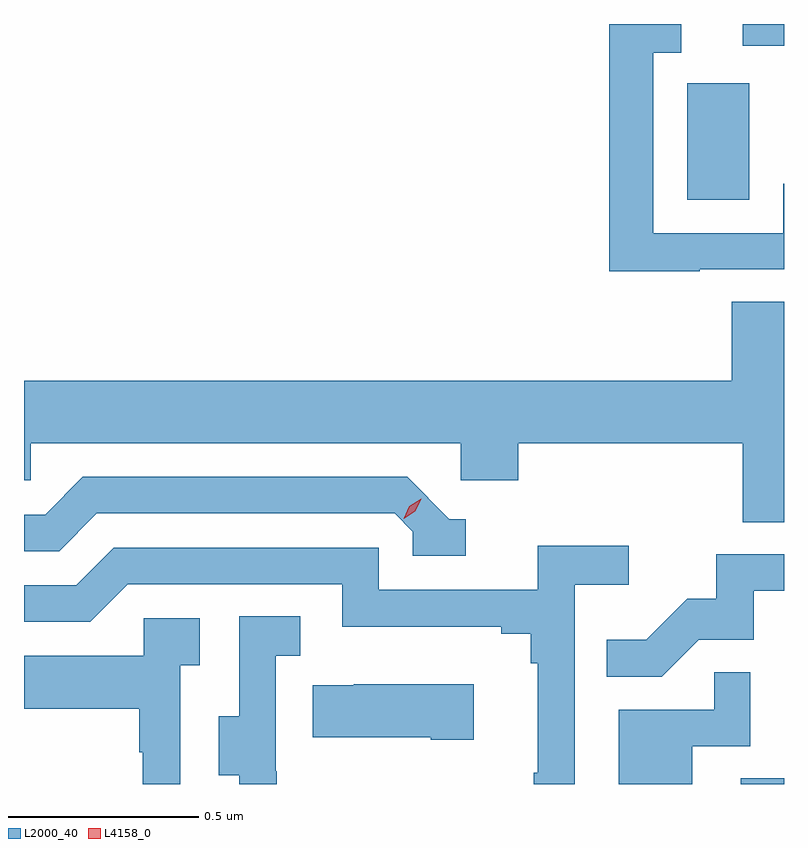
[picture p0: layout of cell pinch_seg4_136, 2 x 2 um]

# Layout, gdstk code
import gdstk
lib = gdstk.Library(unit=1e-6, precision=1e-09)
def R(c, l, rs):  # rectangles x0, y0, x1, y1
    for r in rs: c.add(gdstk.rectangle(r[:2], r[2:], *l))
def P(c, l, *ps):  # polygons
    for p in ps: c.add(gdstk.Polygon(p, *l))
L2000_40 = (2000, 40)
L4158_0 = (4158, 0)

pinch_seg4_136 = lib.new_cell('pinch_seg4_136')
R(pinch_seg4_136, L2000_40, [(1045.913,798.587,1046.027,798.602), (1045.772,800.124,1045.936,800.431), (1045.919,800.53,1046.027,800.587)])
P(pinch_seg4_136, L2000_40, [(1045.805,799.941),(1046.027,799.941),(1046.027,800.166),(1046.025,800.166),(1046.025,800.037),(1045.683,800.037),(1045.683,800.511),(1045.756,800.511),(1045.756,800.587),(1045.567,800.587),(1045.567,799.936),(1045.805,799.936)],
  [(1046.027,799.856),(1045.889,799.856),(1045.889,799.648),(1044.027,799.648),(1044.027,799.386),(1044.045,799.386),(1044.045,799.484),(1045.176,799.484),(1045.176,799.386),(1045.328,799.386),(1045.328,799.484),(1045.919,799.484),(1045.919,799.276),(1046.027,799.276)],
  [(1045.189,799.284),(1045.146,799.284),(1045.035,799.395),(1044.182,799.395),(1044.083,799.296),(1044.027,799.296),(1044.027,799.2),(1044.12,799.2),(1044.219,799.299),(1045.002,799.299),(1045.05,799.251),(1045.05,799.188),(1045.189,799.188)],
  [(1045.476,799.112),(1045.618,799.112),(1045.618,799.214),(1045.379,799.214),(1045.379,799.098),(1044.96,799.098),(1044.96,799.209),(1044.263,799.209),(1044.164,799.11),(1044.027,799.11),(1044.027,799.014),(1044.201,799.014),(1044.3,799.113),(1044.864,799.113),(1044.864,799.001),(1045.283,799.001),(1045.283,798.982),(1045.36,798.982),(1045.36,798.905),(1045.379,798.905),(1045.379,798.617),(1045.368,798.617),(1045.368,798.587),(1045.476,798.587)],
  [(1045.802,798.966),(1045.947,798.966),(1045.947,799.095),(1046.027,799.095),(1046.027,799.191),(1045.849,799.191),(1045.849,799.074),(1045.772,799.074),(1045.665,798.967),(1045.561,798.967),(1045.561,798.869),(1045.705,798.869)],
  [(1044.692,798.621),(1044.69,798.621),(1044.69,798.925),(1044.754,798.925),(1044.754,799.028),(1044.594,799.028),(1044.594,798.765),(1044.539,798.765),(1044.539,798.61),(1044.593,798.61),(1044.593,798.587),(1044.692,798.587)],
  [(1044.438,798.899),(1044.49,798.899),(1044.49,799.023),(1044.342,799.023),(1044.342,798.925),(1044.027,798.925),(1044.027,798.785),(1044.33,798.785),(1044.33,798.671),(1044.34,798.671),(1044.34,798.587),(1044.438,798.587)],
  [(1045.786,798.687),(1045.938,798.687),(1045.938,798.881),(1045.843,798.881),(1045.843,798.783),(1045.592,798.783),(1045.592,798.587),(1045.786,798.587)],
  [(1045.21,798.85),(1044.895,798.85),(1044.895,798.847),(1044.787,798.847),(1044.787,798.71),(1045.097,798.71),(1045.097,798.703),(1045.21,798.703)])
P(pinch_seg4_136, L4158_0, [(1045.026,799.285),(1045.026,799.285),(1045.041,799.318),(1045.072,799.338),(1045.072,799.338),(1045.072,799.338),(1045.056,799.305),(1045.026,799.285)])

lib.write_gds('pinch_seg4_136.gds')
